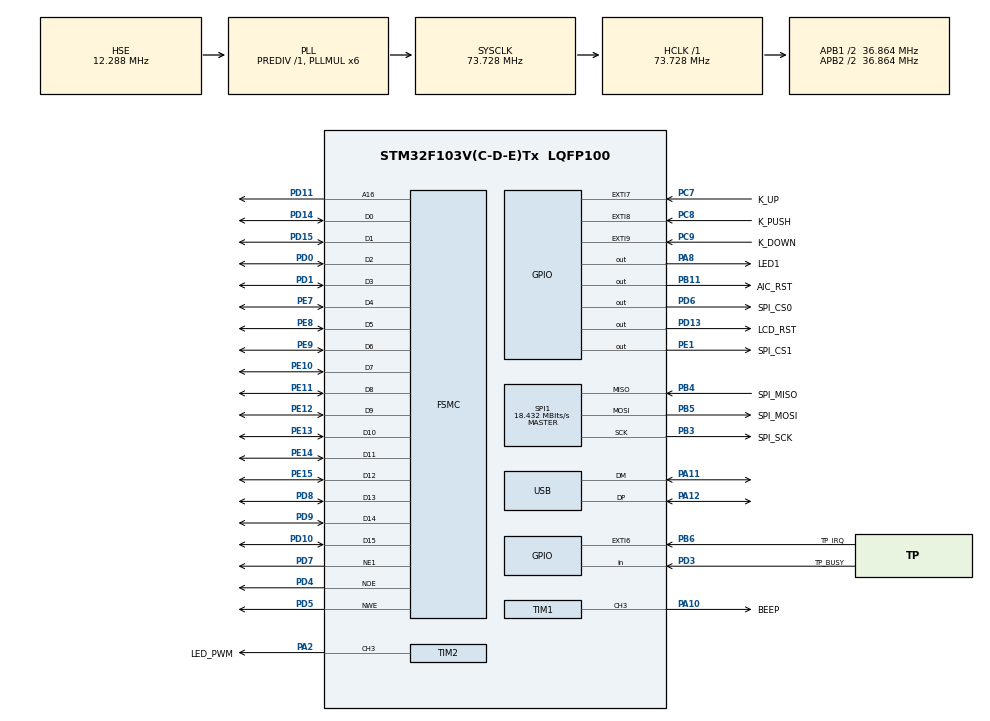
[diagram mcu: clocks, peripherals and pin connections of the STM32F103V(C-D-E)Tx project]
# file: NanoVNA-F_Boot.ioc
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Dma.Request0=SPI1_TX
Dma.Request1=SPI1_RX
Dma.SPI1_RX.1.Direction=DMA_PERIPH_TO_MEMORY
Dma.SPI1_RX.1.Instance=DMA1_Channel2
Dma.SPI1_RX.1.MemDataAlignment=DMA_MDATAALIGN_BYTE
Dma.SPI1_RX.1.MemInc=DMA_MINC_ENABLE
Dma.SPI1_RX.1.Mode=DMA_NORMAL
Dma.SPI1_RX.1.PeriphDataAlignment=DMA_PDATAALIGN_BYTE
Dma.SPI1_RX.1.PeriphInc=DMA_PINC_DISABLE
Dma.SPI1_RX.1.Priority=DMA_PRIORITY_MEDIUM
Dma.SPI1_TX.0.Direction=DMA_MEMORY_TO_PERIPH
Dma.SPI1_TX.0.Instance=DMA1_Channel3
Dma.SPI1_TX.0.MemDataAlignment=DMA_MDATAALIGN_BYTE
Dma.SPI1_TX.0.MemInc=DMA_MINC_ENABLE
Dma.SPI1_TX.0.Mode=DMA_NORMAL
Dma.SPI1_TX.0.PeriphDataAlignment=DMA_PDATAALIGN_BYTE
Dma.SPI1_TX.0.PeriphInc=DMA_PINC_DISABLE
Dma.SPI1_TX.0.Priority=DMA_PRIORITY_MEDIUM
FATFS._CODE_PAGE=437
FATFS._USE_LFN=2
FSMC.AddressSetupTime1=2
FSMC.BusTurnAroundDuration1=0
FSMC.DataSetupTime1=5
Mcu.Family=STM32F1
Mcu.Name=STM32F103V(C-D-E)Tx
Mcu.Package=LQFP100
NVIC.DMA1_Channel2_IRQn=true\:0\:0\:true\:false\:true\:false
NVIC.DMA1_Channel3_IRQn=true\:0\:0\:true\:false\:true\:false
NVIC.PriorityGroup=NVIC_PRIORITYGROUP_4
NVIC.TIM4_IRQn=true\:0\:0\:false\:false\:true\:false
NVIC.TimeBase=TIM4_IRQn
NVIC.TimeBaseIP=TIM4
NVIC.USB_LP_CAN1_RX0_IRQn=true\:1\:0\:true\:false\:true\:false
OSC_IN.Mode=HSE-External-Oscillator
OSC_IN.Signal=RCC_OSC_IN
OSC_OUT.Mode=HSE-External-Oscillator
OSC_OUT.Signal=RCC_OSC_OUT
PA10.GPIO_Label=BEEP
PA10.Signal=S_TIM1_CH3
PA11.Mode=Device
PA11.Signal=USB_DM
PA12.Mode=Device
PA12.Signal=USB_DP
PA13.Mode=Serial_Wire
PA13.Signal=SYS_JTMS-SWDIO
PA14.Mode=Serial_Wire
PA14.Signal=SYS_JTCK-SWCLK
PA2.GPIO_Label=LED_PWM
PA2.Signal=S_TIM2_CH3
PA8.GPIO_Label=LED1
PA8.Signal=GPIO_Output
PB11.GPIO_Label=AIC_RST
PB11.Signal=GPIO_Output
PB3.GPIO_Label=SPI_SCK
PB3.Mode=Full_Duplex_Master
PB3.Signal=SPI1_SCK
PB4.GPIO_Label=SPI_MISO
PB4.Mode=Full_Duplex_Master
PB4.Signal=SPI1_MISO
PB5.GPIO_Label=SPI_MOSI
PB5.Mode=Full_Duplex_Master
PB5.Signal=SPI1_MOSI
PB6.GPIO_Label=TP_IRQ
PB6.GPIO_ModeDefaultEXTI=GPIO_MODE_IT_FALLING
PB6.GPIO_PuPd=GPIO_PULLUP
PB6.Signal=GPXTI6
PC7.GPIO_Label=K_UP
PC7.GPIO_PuPd=GPIO_PULLDOWN
PC7.Signal=GPXTI7
PC8.GPIO_Label=K_PUSH
PC8.GPIO_PuPd=GPIO_PULLDOWN
PC8.Signal=GPXTI8
PC9.GPIO_Label=K_DOWN
PC9.GPIO_PuPd=GPIO_PULLDOWN
PC9.Signal=GPXTI9
PD0.Mode=16b-d1
PD0.Signal=FSMC_D2
PD1.Mode=16b-d1
PD1.Signal=FSMC_D3
PD10.Mode=16b-d1
PD10.Signal=FSMC_D15
PD11.Mode=A16_1
PD11.Signal=FSMC_A16
PD13.GPIO_Label=LCD_RST
PD13.Signal=GPIO_Output
PD14.Mode=16b-d1
PD14.Signal=FSMC_D0
PD15.Mode=16b-d1
PD15.Signal=FSMC_D1
PD3.GPIO_Label=TP_BUSY
PD3.Signal=GPIO_Input
PD4.Mode=Lcd1
PD4.Signal=FSMC_NOE
PD5.Mode=Lcd1
PD5.Signal=FSMC_NWE
PD6.GPIO_Label=SPI_CS0
PD6.PinState=GPIO_PIN_SET
PD6.Signal=GPIO_Output
PD7.Mode=NorPsramChipSelect1_1
PD7.Signal=FSMC_NE1
PD8.Mode=16b-d1
PD8.Signal=FSMC_D13
PD9.Mode=16b-d1
PD9.Signal=FSMC_D14
PE1.GPIO_Label=SPI_CS1
PE1.PinState=GPIO_PIN_SET
PE1.Signal=GPIO_Output
PE10.Mode=16b-d1
PE10.Signal=FSMC_D7
PE11.Mode=16b-d1
PE11.Signal=FSMC_D8
PE12.Mode=16b-d1
PE12.Signal=FSMC_D9
PE13.Mode=16b-d1
PE13.Signal=FSMC_D10
PE14.Mode=16b-d1
PE14.Signal=FSMC_D11
PE15.Mode=16b-d1
PE15.Signal=FSMC_D12
PE7.Mode=16b-d1
PE7.Signal=FSMC_D4
PE8.Mode=16b-d1
PE8.Signal=FSMC_D5
PE9.Mode=16b-d1
PE9.Signal=FSMC_D6
ProjectManager.HeapSize=0x1000
ProjectManager.StackSize=0x1000
ProjectManager.TargetToolchain=SW4STM32
RCC.ADCPresc=RCC_ADCPCLK2_DIV6
RCC.AHBFreq_Value=73728000
RCC.APB1CLKDivider=RCC_HCLK_DIV2
RCC.APB1Freq_Value=36864000
RCC.APB1TimFreq_Value=73728000
RCC.APB2CLKDivider=RCC_HCLK_DIV2
RCC.APB2Freq_Value=36864000
RCC.APB2TimFreq_Value=73728000
RCC.HCLKFreq_Value=73728000
RCC.HSE_Timout=5000
RCC.HSE_VALUE=12288000
RCC.PLLMUL=RCC_PLL_MUL6
RCC.SYSCLKFreq_VALUE=73728000
RCC.SYSCLKSource=RCC_SYSCLKSOURCE_PLLCLK
RCC.USBFreq_Value=49152000
RCC.USBPrescaler=RCC_USBCLKSOURCE_PLL_DIV1_5
SH.S_TIM1_CH3.0=TIM1_CH3,PWM Generation3 CH3
SH.S_TIM2_CH3.0=TIM2_CH3,PWM Generation3 CH3
SPI1.BaudRatePrescaler=SPI_BAUDRATEPRESCALER_2
SPI1.CLKPhase=SPI_PHASE_2EDGE
SPI1.CLKPolarity=SPI_POLARITY_HIGH
SPI1.CRCCalculation=SPI_CRCCALCULATION_DISABLE
SPI1.CalculateBaudRate=18.432 MBits/s
SPI1.Direction=SPI_DIRECTION_2LINES
SPI1.Mode=SPI_MODE_MASTER
SPI1.VirtualType=VM_MASTER
TIM1.Channel-PWM\ Generation3\ CH3=TIM_CHANNEL_3
TIM1.Period=369
TIM1.Prescaler=71
TIM1.Pulse-PWM\ Generation3\ CH3=185
TIM2.Channel-PWM\ Generation3\ CH3=TIM_CHANNEL_3
TIM2.Period=1999
TIM2.Prescaler=71
TIM2.Pulse-PWM\ Generation3\ CH3=1000
USB.ep0_mps=DEP0CTL_MPS_64
USB_DEVICE.CLASS_NAME_FS=MSC
USB_DEVICE.MANUFACTURER_STRING=SYSJOINT
USB_DEVICE.MSC_MEDIA_PACKET=512
USB_DEVICE.VirtualMode=Msc
USB_DEVICE.VirtualModeFS=Msc_FS
VP_FATFS_VS_Generic.Mode=User_defined
VP_SYS_VS_tim4.Mode=TIM4
VP_USB_DEVICE_VS_USB_DEVICE_MSC_FS.Mode=MSC_FS
board=custom

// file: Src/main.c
/**
  ******************************************************************************
  * @file           : main.c
  * @brief          : Main program body
  ******************************************************************************
  * This notice applies to any and all portions of this file
  * that are not between comment pairs USER CODE BEGIN and
  * USER CODE END. Other portions of this file, whether
  * inserted by the user or by software development tools
  * are owned by their respective copyright owners.
  *
  * Copyright (c) 2019 STMicroelectronics International N.V.
  * All rights reserved.
  *
  * Redistribution and use in source and binary forms, with or without
  * modification, are permitted, provided that the following conditions are met:
  *
  * 1. Redistribution of source code must retain the above copyright notice,
  *    this list of conditions and the following disclaimer.
  * 2. Redistributions in binary form must reproduce the above copyright notice,
  *    this list of conditions and the following disclaimer in the documentation
  *    and/or other materials provided with the distribution.
  * 3. Neither the name of STMicroelectronics nor the names of other
  *    contributors to this software may be used to endorse or promote products
  *    derived from this software without specific written permission.
  * 4. This software, including modifications and/or derivative works of this
  *    software, must execute solely and exclusively on microcontroller or
  *    microprocessor devices manufactured by or for STMicroelectronics.
  * 5. Redistribution and use of this software other than as permitted under
  *    this license is void and will automatically terminate your rights under
  *    this license.
  *
  * THIS SOFTWARE IS PROVIDED BY STMICROELECTRONICS AND CONTRIBUTORS "AS IS"
  * AND ANY EXPRESS, IMPLIED OR STATUTORY WARRANTIES, INCLUDING, BUT NOT
  * LIMITED TO, THE IMPLIED WARRANTIES OF MERCHANTABILITY, FITNESS FOR A
  * PARTICULAR PURPOSE AND NON-INFRINGEMENT OF THIRD PARTY INTELLECTUAL PROPERTY
  * RIGHTS ARE DISCLAIMED TO THE FULLEST EXTENT PERMITTED BY LAW. IN NO EVENT
  * SHALL STMICROELECTRONICS OR CONTRIBUTORS BE LIABLE FOR ANY DIRECT, INDIRECT,
  * INCIDENTAL, SPECIAL, EXEMPLARY, OR CONSEQUENTIAL DAMAGES (INCLUDING, BUT NOT
  * LIMITED TO, PROCUREMENT OF SUBSTITUTE GOODS OR SERVICES; LOSS OF USE, DATA,
  * OR PROFITS; OR BUSINESS INTERRUPTION) HOWEVER CAUSED AND ON ANY THEORY OF
  * LIABILITY, WHETHER IN CONTRACT, STRICT LIABILITY, OR TORT (INCLUDING
  * NEGLIGENCE OR OTHERWISE) ARISING IN ANY WAY OUT OF THE USE OF THIS SOFTWARE,
  * EVEN IF ADVISED OF THE POSSIBILITY OF SUCH DAMAGE.
  *
  ******************************************************************************
  */
#include "main.h"
#include "stm32f1xx_hal.h"
#include "fatfs.h"
#include "usb_device.h"

/* USER CODE BEGIN Includes */
#include "spi_flash.h"
#include "nt35510.h"
#include "fs_funs.h"
#include "board.h"
/* USER CODE END Includes */

SPI_HandleTypeDef hspi1;
DMA_HandleTypeDef hdma_spi1_tx;
DMA_HandleTypeDef hdma_spi1_rx;

TIM_HandleTypeDef htim1;
TIM_HandleTypeDef htim2;

SRAM_HandleTypeDef hsram1;

/* USER CODE BEGIN PV */
/* Private variables ---------------------------------------------------------*/
/* Error code */
enum
{
  FLASHIF_OK = 0,
  FLASHIF_ERASEKO,
  FLASHIF_WRITINGCTRL_ERROR,
  FLASHIF_WRITING_ERROR,
  FLASHIF_PROTECTION_ERRROR
};

/* protection type */
enum{
  FLASHIF_PROTECTION_NONE         = 0,
  FLASHIF_PROTECTION_PCROPENABLED = 0x1,
  FLASHIF_PROTECTION_WRPENABLED   = 0x2,
  FLASHIF_PROTECTION_RDPENABLED   = 0x4,
};

/* protection update */
enum {
    FLASHIF_WRP_ENABLE,
    FLASHIF_WRP_DISABLE
};

#define FLASH_PAGESIZE 0x800
uint8_t app_buffer[FLASH_PAGESIZE];
/* USER CODE END PV */

void SystemClock_Config(void);
static void MX_GPIO_Init(void);
static void MX_DMA_Init(void);
static void MX_FSMC_Init(void);
static void MX_TIM1_Init(void);
static void MX_SPI1_Init(void);
static void MX_TIM2_Init(void);

void HAL_TIM_MspPostInit(TIM_HandleTypeDef *htim);

/* USER CODE BEGIN PFP */
/* Private function prototypes -----------------------------------------------*/
static void MY_USBDP_IO_Init(void)
{
  GPIO_InitTypeDef GPIO_InitStruct;

  HAL_GPIO_WritePin(GPIOC, GPIO_PIN_10, GPIO_PIN_SET);

  GPIO_InitStruct.Pin = GPIO_PIN_10;
  GPIO_InitStruct.Mode = GPIO_MODE_OUTPUT_PP;
  GPIO_InitStruct.Pull = GPIO_PULLUP;
  GPIO_InitStruct.Speed = GPIO_SPEED_FREQ_HIGH;
  HAL_GPIO_Init(GPIOC, &GPIO_InitStruct);
}
/* USER CODE END PFP */

/* USER CODE BEGIN 0 */
typedef  void (*pFunction)(void);

pFunction JumpToApplication;
uint32_t JumpAddress;

/*
=======================================
    Virtual Udisk Mode
=======================================
*/
void udisk_mode(void)
{
  MY_USBDP_IO_Init();
  MX_USB_DEVICE_Init();

  lcd_debug("** Bootloader Mode **\r\n\r\nAttaching Udisk to USB.\r\n");
  lcd_debug("Put your update.bin in Udisk, then reset.\r\n");

  while(1);
}

int flash_erase_page(uint32_t page_address)
{
  FLASH_EraseInitTypeDef EraseInitStruct;
  uint32_t PAGEError = 0;

  EraseInitStruct.TypeErase   = FLASH_TYPEERASE_PAGES;
  EraseInitStruct.PageAddress = page_address;
  EraseInitStruct.NbPages     = 1;

  if (HAL_FLASHEx_Erase(&EraseInitStruct, &PAGEError) != HAL_OK)
  {
    /*
    Error occurred while page erase.
    User can add here some code to deal with this error.
    PAGEError will contain the faulty page and then to know the code error on this page,
    user can call function 'HAL_FLASH_GetError()'
    */
    /* Infinite loop */
    while (1)
    {
      LED1_ON;
      HAL_Delay(100);
      LED1_OFF;
      HAL_Delay(2000);
    }
  }

  return 0;
}

void flash_program_word(uint32_t address, uint32_t *dat, uint32_t cnt)
{
  uint32_t i = 0;

  for (i = 0; i < cnt; i++)
  {
    if (HAL_FLASH_Program(FLASH_TYPEPROGRAM_WORD, address, *(dat+i)) != HAL_OK)
    {
      /* Infinite loop */
      while (1)
      {
        LED1_ON;
        HAL_Delay(100);
        LED1_OFF;
        HAL_Delay(2000);
      }
    }
    if (*(uint32_t*)address != *(uint32_t*)(dat+i))
    {
      /* Infinite loop */
      while (1)
      {
        LED1_ON;
        HAL_Delay(100);
        LED1_OFF;
        HAL_Delay(2000);
      }
    }
    address += 4;
  }
}

/*
=======================================
    Update Firmware
=======================================
*/
void update_fw(void)
{
  // FATFS Object
  FRESULT f_res;
  uint32_t fs_total;
  uint32_t fs_free;
  FIL fil;
  UINT size;
  uint32_t remain = 0;
  uint32_t app_size = 0;
  uint32_t app_burn = 0;

  MX_FATFS_Init();

  // Register
  if (retUSER != 0) {
    lcd_debug("FatFs register Error !\r\n");
    return;
  }
  lcd_debug("FatFs register OK.\r\n");
  lcd_debug("Path: %s\r\n", USERPath);
  // Mount
  if ((f_res = f_mount(&USERFatFS, (TCHAR const*)USERPath, 1)) != FR_OK)
  {
    printf_ff_error(f_res);
    if (f_res == FR_NO_FILESYSTEM) {
      /*
      if ((f_res = f_mkfs((TCHAR const*)USERPath, 1, 4096)) != FR_OK) {
         lcd_debug("FatFs mkfs Error !\r\n");
         return;
      } */
      return;
    } else {
      lcd_debug("FatFs mount Error !\r\n");
      return;
    }
  }
  lcd_debug("FatFs mount OK.\r\n");
  // Usage
  get_free((uint8_t *)USERPath, &fs_total, &fs_free );
  lcd_debug("Flash total = %d KB, free = %d KB\r\n", fs_total, fs_free );

  // All Files
  scan_files((uint8_t *)USERPath);

  // Update File
  f_res = f_open(&fil, "update.bin", FA_OPEN_EXISTING | FA_READ);
  f_lseek(&fil, 0);
  if (f_res != FR_OK)
  {
    lcd_debug("No update.bin.\r\n");
  } else {
    app_size = f_size(&fil);
    app_burn = 0;
    lcd_debug("Target update.bin %d bytes, updating...\r\n", app_size);
    if (app_size > FLASH_APP_SIZE) {
      f_close(&fil);
      goto RUN_APP;
    }
    HAL_FLASH_Unlock();
    while (app_size > 0)
    {
      if (app_size >= FLASH_PAGESIZE) {
        remain = FLASH_PAGESIZE;
      } else {
        memset(app_buffer, 0, FLASH_PAGESIZE);
        remain = app_size;
      }
      f_res = f_read(&fil, (uint8_t *)app_buffer, remain, &size);
      if (size == remain) {
        if (remain < FLASH_PAGESIZE) {
          remain = (remain/4+1)*4;
        }
        flash_erase_page(FLASH_APP_ADDR+app_burn);
        flash_program_word(FLASH_APP_ADDR+app_burn, (uint32_t *)app_buffer, remain/4);
        app_size -= size;
        app_burn += size;
        nt35510_burn(".", COLOR_INFO, BLACK);
      } else {
        lcd_debug("Read update.bin Error ! %d %d\r\n", f_res, app_burn);
        HAL_FLASH_Lock();
        f_close(&fil);
        goto RUN_APP;
      }
    }
    HAL_FLASH_Lock();
  }
  f_close(&fil);

  f_unlink("update.bin");  // Delete update.bin

RUN_APP:
  /* Test if user code is programmed starting from address "FLASH_APP_ADDR" */
  if (((*(__IO uint32_t*)FLASH_APP_ADDR) & 0x2FFE0000 ) == 0x20000000)
  {
    lcd_debug("Running APP...");
    __disable_irq();
    /* Jump to user application */
    JumpAddress = *(__IO uint32_t*) (FLASH_APP_ADDR + 4);
    JumpToApplication = (pFunction) JumpAddress;
    /* Initialize user application's Stack Pointer */
    __set_MSP(*(__IO uint32_t*) FLASH_APP_ADDR);
    JumpToApplication();
  } else {
    lcd_debug("APP Not Programmed !");
    HAL_Delay(10000);
    // HAL_NVIC_SystemReset();
  }

  while (1);
}

void boot_init(void)
{
  /* Dectect Button Push */
  if (HAL_GPIO_ReadPin(K_PUSH_GPIO_Port, K_PUSH_Pin) == GPIO_PIN_SET) {
    HAL_Delay(20);
    if (HAL_GPIO_ReadPin(K_PUSH_GPIO_Port, K_PUSH_Pin) == GPIO_PIN_SET) {
      udisk_mode();
    }
  }
  update_fw();
}
/* USER CODE END 0 */

int main(void)
{

  /* MCU Configuration----------------------------------------------------------*/

  /* Reset of all peripherals, Initializes the Flash interface and the Systick. */
  HAL_Init();

  /* Configure the system clock */
  SystemClock_Config();

  /* Initialize all configured peripherals */
  MX_GPIO_Init();
  MX_DMA_Init();
  MX_FSMC_Init();
  MX_TIM1_Init();
  MX_SPI1_Init();
  MX_TIM2_Init();
  /* USER CODE BEGIN 2 */
  nt35510_init();
  HAL_Delay(100);
  // HAL_GPIO_WritePin(LED_PWM_GPIO_Port, LED_PWM_Pin, GPIO_PIN_SET);
  HAL_TIM_PWM_Start(&htim2, TIM_CHANNEL_3);
  __HAL_TIM_SET_COMPARE(&htim2, TIM_CHANNEL_3, 1000);
  boot_init();
  /* USER CODE END 2 */

  /* Infinite loop */
  while (1)
  {

  }

}

void SystemClock_Config(void)
{

  RCC_OscInitTypeDef RCC_OscInitStruct;
  RCC_ClkInitTypeDef RCC_ClkInitStruct;
  RCC_PeriphCLKInitTypeDef PeriphClkInit;

    /**Initializes the CPU, AHB and APB busses clocks
    */
  RCC_OscInitStruct.OscillatorType = RCC_OSCILLATORTYPE_HSE;
  RCC_OscInitStruct.HSEState = RCC_HSE_ON;
  RCC_OscInitStruct.HSEPredivValue = RCC_HSE_PREDIV_DIV1;
  RCC_OscInitStruct.HSIState = RCC_HSI_ON;
  RCC_OscInitStruct.PLL.PLLState = RCC_PLL_ON;
  RCC_OscInitStruct.PLL.PLLSource = RCC_PLLSOURCE_HSE;
  RCC_OscInitStruct.PLL.PLLMUL = RCC_PLL_MUL6;
  if (HAL_RCC_OscConfig(&RCC_OscInitStruct) != HAL_OK)
  {
    _Error_Handler(__FILE__, __LINE__);
  }

    /**Initializes the CPU, AHB and APB busses clocks
    */
  RCC_ClkInitStruct.ClockType = RCC_CLOCKTYPE_HCLK|RCC_CLOCKTYPE_SYSCLK
                              |RCC_CLOCKTYPE_PCLK1|RCC_CLOCKTYPE_PCLK2;
  RCC_ClkInitStruct.SYSCLKSource = RCC_SYSCLKSOURCE_PLLCLK;
  RCC_ClkInitStruct.AHBCLKDivider = RCC_SYSCLK_DIV1;
  RCC_ClkInitStruct.APB1CLKDivider = RCC_HCLK_DIV2;
  RCC_ClkInitStruct.APB2CLKDivider = RCC_HCLK_DIV2;

  if (HAL_RCC_ClockConfig(&RCC_ClkInitStruct, FLASH_LATENCY_2) != HAL_OK)
  {
    _Error_Handler(__FILE__, __LINE__);
  }

  PeriphClkInit.PeriphClockSelection = RCC_PERIPHCLK_USB;
  PeriphClkInit.UsbClockSelection = RCC_USBCLKSOURCE_PLL_DIV1_5;
  if (HAL_RCCEx_PeriphCLKConfig(&PeriphClkInit) != HAL_OK)
  {
    _Error_Handler(__FILE__, __LINE__);
  }

    /**Configure the Systick interrupt time
    */
  HAL_SYSTICK_Config(HAL_RCC_GetHCLKFreq()/1000);

    /**Configure the Systick
    */
  HAL_SYSTICK_CLKSourceConfig(SYSTICK_CLKSOURCE_HCLK);

  /* SysTick_IRQn interrupt configuration */
  HAL_NVIC_SetPriority(SysTick_IRQn, 0, 0);
}

/* SPI1 init function */
static void MX_SPI1_Init(void)
{

  /* SPI1 parameter configuration*/
  hspi1.Instance = SPI1;
  hspi1.Init.Mode = SPI_MODE_MASTER;
  hspi1.Init.Direction = SPI_DIRECTION_2LINES;
  hspi1.Init.DataSize = SPI_DATASIZE_8BIT;
  hspi1.Init.CLKPolarity = SPI_POLARITY_HIGH;
  hspi1.Init.CLKPhase = SPI_PHASE_2EDGE;
  hspi1.Init.NSS = SPI_NSS_SOFT;
  hspi1.Init.BaudRatePrescaler = SPI_BAUDRATEPRESCALER_2;
  hspi1.Init.FirstBit = SPI_FIRSTBIT_MSB;
  hspi1.Init.TIMode = SPI_TIMODE_DISABLE;
  hspi1.Init.CRCCalculation = SPI_CRCCALCULATION_DISABLE;
  hspi1.Init.CRCPolynomial = 10;
  if (HAL_SPI_Init(&hspi1) != HAL_OK)
  {
    _Error_Handler(__FILE__, __LINE__);
  }

}

/* TIM1 init function */
static void MX_TIM1_Init(void)
{

  TIM_MasterConfigTypeDef sMasterConfig;
  TIM_OC_InitTypeDef sConfigOC;
  TIM_BreakDeadTimeConfigTypeDef sBreakDeadTimeConfig;

  htim1.Instance = TIM1;
  htim1.Init.Prescaler = 71;
  htim1.Init.CounterMode = TIM_COUNTERMODE_UP;
  htim1.Init.Period = 369;
  htim1.Init.ClockDivision = TIM_CLOCKDIVISION_DIV1;
  htim1.Init.RepetitionCounter = 0;
  htim1.Init.AutoReloadPreload = TIM_AUTORELOAD_PRELOAD_DISABLE;
  if (HAL_TIM_PWM_Init(&htim1) != HAL_OK)
  {
    _Error_Handler(__FILE__, __LINE__);
  }

  sMasterConfig.MasterOutputTrigger = TIM_TRGO_RESET;
  sMasterConfig.MasterSlaveMode = TIM_MASTERSLAVEMODE_DISABLE;
  if (HAL_TIMEx_MasterConfigSynchronization(&htim1, &sMasterConfig) != HAL_OK)
  {
    _Error_Handler(__FILE__, __LINE__);
  }

  sConfigOC.OCMode = TIM_OCMODE_PWM1;
  sConfigOC.Pulse = 185;
  sConfigOC.OCPolarity = TIM_OCPOLARITY_HIGH;
  sConfigOC.OCNPolarity = TIM_OCNPOLARITY_HIGH;
  sConfigOC.OCFastMode = TIM_OCFAST_DISABLE;
  sConfigOC.OCIdleState = TIM_OCIDLESTATE_RESET;
  sConfigOC.OCNIdleState = TIM_OCNIDLESTATE_RESET;
  if (HAL_TIM_PWM_ConfigChannel(&htim1, &sConfigOC, TIM_CHANNEL_3) != HAL_OK)
  {
    _Error_Handler(__FILE__, __LINE__);
  }

  sBreakDeadTimeConfig.OffStateRunMode = TIM_OSSR_DISABLE;
  sBreakDeadTimeConfig.OffStateIDLEMode = TIM_OSSI_DISABLE;
  sBreakDeadTimeConfig.LockLevel = TIM_LOCKLEVEL_OFF;
  sBreakDeadTimeConfig.DeadTime = 0;
  sBreakDeadTimeConfig.BreakState = TIM_BREAK_DISABLE;
  sBreakDeadTimeConfig.BreakPolarity = TIM_BREAKPOLARITY_HIGH;
  sBreakDeadTimeConfig.AutomaticOutput = TIM_AUTOMATICOUTPUT_DISABLE;
  if (HAL_TIMEx_ConfigBreakDeadTime(&htim1, &sBreakDeadTimeConfig) != HAL_OK)
  {
    _Error_Handler(__FILE__, __LINE__);
  }

  HAL_TIM_MspPostInit(&htim1);

}

/* TIM2 init function */
static void MX_TIM2_Init(void)
{

  TIM_MasterConfigTypeDef sMasterConfig;
  TIM_OC_InitTypeDef sConfigOC;

  htim2.Instance = TIM2;
  htim2.Init.Prescaler = 71;
  htim2.Init.CounterMode = TIM_COUNTERMODE_UP;
  htim2.Init.Period = 1999;
  htim2.Init.ClockDivision = TIM_CLOCKDIVISION_DIV1;
  htim2.Init.AutoReloadPreload = TIM_AUTORELOAD_PRELOAD_DISABLE;
  if (HAL_TIM_PWM_Init(&htim2) != HAL_OK)
  {
    _Error_Handler(__FILE__, __LINE__);
  }

  sMasterConfig.MasterOutputTrigger = TIM_TRGO_RESET;
  sMasterConfig.MasterSlaveMode = TIM_MASTERSLAVEMODE_DISABLE;
  if (HAL_TIMEx_MasterConfigSynchronization(&htim2, &sMasterConfig) != HAL_OK)
  {
    _Error_Handler(__FILE__, __LINE__);
  }

  sConfigOC.OCMode = TIM_OCMODE_PWM1;
  sConfigOC.Pulse = 1000;
  sConfigOC.OCPolarity = TIM_OCPOLARITY_HIGH;
  sConfigOC.OCFastMode = TIM_OCFAST_DISABLE;
  if (HAL_TIM_PWM_ConfigChannel(&htim2, &sConfigOC, TIM_CHANNEL_3) != HAL_OK)
  {
    _Error_Handler(__FILE__, __LINE__);
  }

  HAL_TIM_MspPostInit(&htim2);

}

static void MX_DMA_Init(void)
{
  /* DMA controller clock enable */
  __HAL_RCC_DMA1_CLK_ENABLE();

  /* DMA interrupt init */
  /* DMA1_Channel2_IRQn interrupt configuration */
  HAL_NVIC_SetPriority(DMA1_Channel2_IRQn, 0, 0);
  HAL_NVIC_EnableIRQ(DMA1_Channel2_IRQn);
  /* DMA1_Channel3_IRQn interrupt configuration */
  HAL_NVIC_SetPriority(DMA1_Channel3_IRQn, 0, 0);
  HAL_NVIC_EnableIRQ(DMA1_Channel3_IRQn);

}

/** Configure pins as
        * Analog
        * Input
        * Output
        * EVENT_OUT
        * EXTI
*/
static void MX_GPIO_Init(void)
{

  GPIO_InitTypeDef GPIO_InitStruct;

  /* GPIO Ports Clock Enable */
  __HAL_RCC_GPIOA_CLK_ENABLE();
  __HAL_RCC_GPIOE_CLK_ENABLE();
  __HAL_RCC_GPIOB_CLK_ENABLE();
  __HAL_RCC_GPIOD_CLK_ENABLE();
  __HAL_RCC_GPIOC_CLK_ENABLE();

  /*Configure GPIO pin Output Level */
  HAL_GPIO_WritePin(AIC_RST_GPIO_Port, AIC_RST_Pin, GPIO_PIN_RESET);

  /*Configure GPIO pin Output Level */
  HAL_GPIO_WritePin(LCD_RST_GPIO_Port, LCD_RST_Pin, GPIO_PIN_RESET);

  /*Configure GPIO pin Output Level */
  HAL_GPIO_WritePin(LED1_GPIO_Port, LED1_Pin, GPIO_PIN_RESET);

  /*Configure GPIO pin Output Level */
  HAL_GPIO_WritePin(SPI_CS0_GPIO_Port, SPI_CS0_Pin, GPIO_PIN_SET);

  /*Configure GPIO pin Output Level */
  HAL_GPIO_WritePin(SPI_CS1_GPIO_Port, SPI_CS1_Pin, GPIO_PIN_SET);

  /*Configure GPIO pin : AIC_RST_Pin */
  GPIO_InitStruct.Pin = AIC_RST_Pin;
  GPIO_InitStruct.Mode = GPIO_MODE_OUTPUT_PP;
  GPIO_InitStruct.Pull = GPIO_NOPULL;
  GPIO_InitStruct.Speed = GPIO_SPEED_FREQ_LOW;
  HAL_GPIO_Init(AIC_RST_GPIO_Port, &GPIO_InitStruct);

  /*Configure GPIO pins : LCD_RST_Pin SPI_CS0_Pin */
  GPIO_InitStruct.Pin = LCD_RST_Pin|SPI_CS0_Pin;
  GPIO_InitStruct.Mode = GPIO_MODE_OUTPUT_PP;
  GPIO_InitStruct.Pull = GPIO_NOPULL;
  GPIO_InitStruct.Speed = GPIO_SPEED_FREQ_LOW;
  HAL_GPIO_Init(GPIOD, &GPIO_InitStruct);

  /*Configure GPIO pins : K_UP_Pin K_PUSH_Pin K_DOWN_Pin */
  GPIO_InitStruct.Pin = K_UP_Pin|K_PUSH_Pin|K_DOWN_Pin;
  GPIO_InitStruct.Mode = GPIO_MODE_IT_RISING;
  GPIO_InitStruct.Pull = GPIO_PULLDOWN;
  HAL_GPIO_Init(GPIOC, &GPIO_InitStruct);

  /*Configure GPIO pin : LED1_Pin */
  GPIO_InitStruct.Pin = LED1_Pin;
  GPIO_InitStruct.Mode = GPIO_MODE_OUTPUT_PP;
  GPIO_InitStruct.Pull = GPIO_NOPULL;
  GPIO_InitStruct.Speed = GPIO_SPEED_FREQ_LOW;
  HAL_GPIO_Init(LED1_GPIO_Port, &GPIO_InitStruct);

  /*Configure GPIO pin : TP_BUSY_Pin */
  GPIO_InitStruct.Pin = TP_BUSY_Pin;
  GPIO_InitStruct.Mode = GPIO_MODE_INPUT;
  GPIO_InitStruct.Pull = GPIO_NOPULL;
  HAL_GPIO_Init(TP_BUSY_GPIO_Port, &GPIO_InitStruct);

  /*Configure GPIO pin : TP_IRQ_Pin */
  GPIO_InitStruct.Pin = TP_IRQ_Pin;
  GPIO_InitStruct.Mode = GPIO_MODE_IT_FALLING;
  GPIO_InitStruct.Pull = GPIO_PULLUP;
  HAL_GPIO_Init(TP_IRQ_GPIO_Port, &GPIO_InitStruct);

  /*Configure GPIO pin : SPI_CS1_Pin */
  GPIO_InitStruct.Pin = SPI_CS1_Pin;
  GPIO_InitStruct.Mode = GPIO_MODE_OUTPUT_PP;
  GPIO_InitStruct.Pull = GPIO_NOPULL;
  GPIO_InitStruct.Speed = GPIO_SPEED_FREQ_LOW;
  HAL_GPIO_Init(SPI_CS1_GPIO_Port, &GPIO_InitStruct);

}

/* FSMC initialization function */
static void MX_FSMC_Init(void)
{
  FSMC_NORSRAM_TimingTypeDef Timing;

  /** Perform the SRAM1 memory initialization sequence
  */
  hsram1.Instance = FSMC_NORSRAM_DEVICE;
  hsram1.Extended = FSMC_NORSRAM_EXTENDED_DEVICE;
  /* hsram1.Init */
  hsram1.Init.NSBank = FSMC_NORSRAM_BANK1;
  hsram1.Init.DataAddressMux = FSMC_DATA_ADDRESS_MUX_DISABLE;
  hsram1.Init.MemoryType = FSMC_MEMORY_TYPE_NOR;
  hsram1.Init.MemoryDataWidth = FSMC_NORSRAM_MEM_BUS_WIDTH_16;
  hsram1.Init.BurstAccessMode = FSMC_BURST_ACCESS_MODE_DISABLE;
  hsram1.Init.WaitSignalPolarity = FSMC_WAIT_SIGNAL_POLARITY_LOW;
  hsram1.Init.WrapMode = FSMC_WRAP_MODE_DISABLE;
  hsram1.Init.WaitSignalActive = FSMC_WAIT_TIMING_BEFORE_WS;
  hsram1.Init.WriteOperation = FSMC_WRITE_OPERATION_ENABLE;
  hsram1.Init.WaitSignal = FSMC_WAIT_SIGNAL_DISABLE;
  hsram1.Init.ExtendedMode = FSMC_EXTENDED_MODE_DISABLE;
  hsram1.Init.AsynchronousWait = FSMC_ASYNCHRONOUS_WAIT_DISABLE;
  hsram1.Init.WriteBurst = FSMC_WRITE_BURST_DISABLE;
  /* Timing */
  Timing.AddressSetupTime = 2;
  Timing.AddressHoldTime = 0;
  Timing.DataSetupTime = 5;
  Timing.BusTurnAroundDuration = 0;
  Timing.CLKDivision = 0;
  Timing.DataLatency = 0;
  Timing.AccessMode = FSMC_ACCESS_MODE_B;
  /* ExtTiming */

  if (HAL_SRAM_Init(&hsram1, &Timing, NULL) != HAL_OK)
  {
    _Error_Handler(__FILE__, __LINE__);
  }

  /** Disconnect NADV
  */

  __HAL_AFIO_FSMCNADV_DISCONNECTED();

}

void HAL_TIM_PeriodElapsedCallback(TIM_HandleTypeDef *htim)
{
  if (htim->Instance == TIM4) {
    HAL_IncTick();
  }
}

void _Error_Handler(char *file, int line)
{
  while(1)
  {
  }
}

/************************ (C) COPYRIGHT STMicroelectronics *****END OF FILE****/
